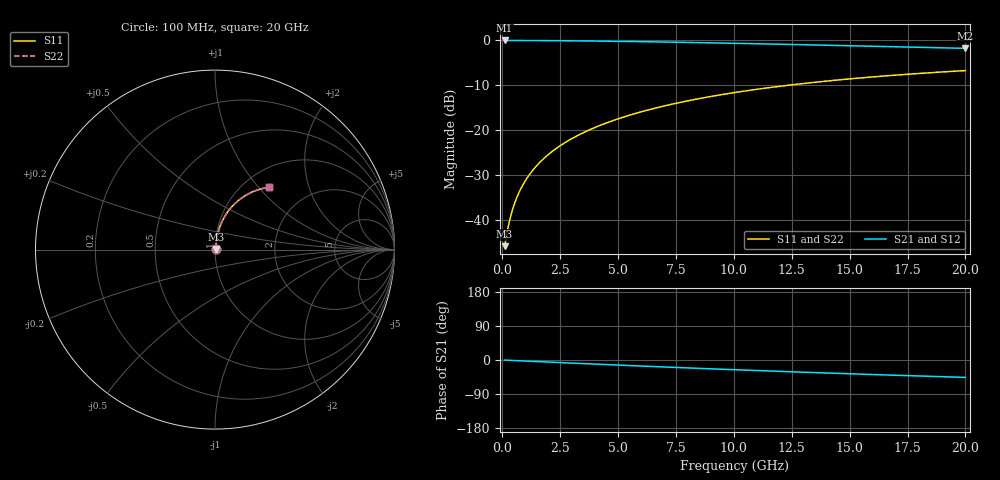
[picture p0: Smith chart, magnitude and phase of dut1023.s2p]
! Touchstone file exported from HFSS 2024.1.0
!  File:  C:/UserFiles/LocalFiles/RDL_TSV_Batchsim/temp_RDL_top_1023_1780043265.aedt
!  Generated:  04:30:55 PM May 29, 2026
!  Design:  RDL_top
!  Project:  temp_RDL_top_1023_1780043265
!  Setup:  Setup1
!  Solution:  Sweep
! Variables:
!  dtsv = 10.80580581um
!  hbump = 3um
!  htsv = 72.22um
!  ldown = 100um
!  lrdl = 630.51um
!  p = 40
!  p1 = 47.56um
!  rhole = 1um
!  t = 450um
!  tdown = 3.915915916um
!  trdl = 3.41um
!  wdown = 15.38538539um
!  wrdl = 15.6um
# GHz S MA R 50.000000
! Terminal data exported
! Port[1] = Box2_T1
! Port[2] = Box2_T2
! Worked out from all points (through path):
!   200 points, 100 MHz to 20 GHz, reference 50 ohm
!   highest |S21| = -0.04 dB at 100 MHz (marker M1); lowest = -1.8 dB at 20 GHz (marker M2)
!   group delay of S21, straight-line fit = 6.37 ps
!   lowest |S11| = -45.7 dB at 100 MHz (marker M3), VSWR 1.01, Z = 50.4 + j0.287 ohm
!   |S11| at or under -10 dB: start of sweep to 12.33 GHz
!   |S22| runs from -45.7 to -6.7 dB; largest |S21 - S12| = 2.2e-15
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0.1  0.005172 33.4  0.9957 -0.3  0.9957 -0.3  0.005172 33.4
! Gamma 0 0 0 0
! Port Impedance 50 0 50 0
0.2  0.007193 51.9  0.9956 -0.6  0.9956 -0.6  0.007193 51.9
0.3  0.009596 61.3  0.9954 -0.8  0.9954 -0.8  0.009596 61.3
0.4  0.01212 66.7  0.9952 -1.1  0.9952 -1.1  0.01212 66.7
0.5  0.01468 70.2  0.995 -1.4  0.995 -1.4  0.01468 70.2
0.6  0.01726 72.6  0.9948 -1.7  0.9948 -1.7  0.01726 72.6
0.8  0.02245 75.7  0.9945 -2.2  0.9945 -2.2  0.02245 75.7
1.1  0.03032 78.3  0.9938 -3.0  0.9938 -3.0  0.03032 78.3
1.3  0.03559 79.2  0.9934 -3.6  0.9934 -3.6  0.03559 79.2
1.6  0.04354 80.1  0.9925 -4.4  0.9925 -4.4  0.04354 80.1
2.1  0.05684 80.7  0.9909 -5.8  0.9909 -5.8  0.05684 80.6
2.7  0.07286 80.6  0.9883 -7.4  0.9883 -7.4  0.07285 80.6
3.5  0.09424 79.9  0.9841 -9.5  0.9841 -9.5  0.09423 79.9
4.2  0.1129 79.0  0.9797 -11.4  0.9797 -11.4  0.1129 78.9
5  0.1342 77.7  0.974 -13.4  0.974 -13.4  0.1342 77.7
5.9  0.158 76.2  0.9667 -15.7  0.9667 -15.7  0.158 76.1
6.8  0.1815 74.5  0.9587 -18.0  0.9587 -18.0  0.1815 74.4
8.4  0.2225 71.3  0.9432 -21.9  0.9432 -21.9  0.2224 71.3
10.1  0.2645 67.9  0.9253 -25.8  0.9253 -25.8  0.2643 67.9
13.4  0.3396 61.2  0.8884 -33.1  0.8884 -33.1  0.3394 61.2
16.7  0.4052 54.8  0.8506 -39.8  0.8506 -39.8  0.405 54.8
20  0.461 48.9  0.8137 -45.9  0.8137 -45.9  0.4607 48.8
